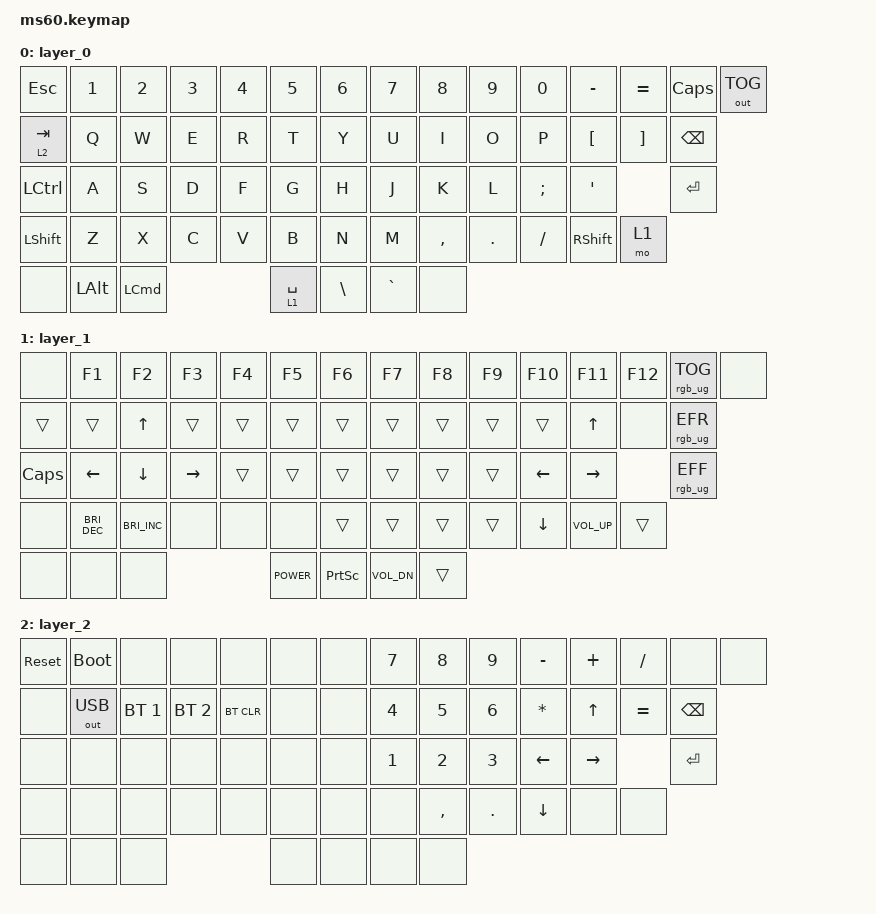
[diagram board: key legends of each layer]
/*
 * Copyright (c) 2021 Nick Winans
 *
 * SPDX-License-Identifier: MIT
 */

#include <behaviors.dtsi>
#include <dt-bindings/zmk/bt.h>
#include <dt-bindings/zmk/keys.h>
#include <dt-bindings/zmk/outputs.h>
#include <dt-bindings/zmk/rgb.h>

/ {
    combos {
        compatible = "zmk,combos";

        bs_jk {
            bindings = <&kp BACKSPACE>;
            key-positions = <36 37>;
            layers = <0>;
            timeout-ms = <50>;
        };

        ent_kl {
            bindings = <&kp ENTER>;
            key-positions = <37 38>;
            layers = <0>;
            timeout-ms = <50>;
        };

        line_del {
            bindings = <&mt LEFT_COMMAND BACKSPACE>;
            key-positions = <24 23>;
            timeout-ms = <50>;
            layers = <0>;
        };
    };

    keymap {
        compatible = "zmk,keymap";

        layer_0 {
            // -------------------------------------------------------------------------------------------
            // | ESC |  1  |  2  |  3  |  4  |  5  |  6  |  7  |  8  |  9  |  0  |  -  |  =  | BKSP |BKSP|
            // | TAB  |  Q  |  W  |  E  |  R  |  T  |  Y  |  U  |  I  |  O  |  P  |  [  |  ]  |   "|"    |
            // | CAPS  |  A  |  S  |  D  |  F  |  G  |  H  |  J  |  K  |  L  |  ;  |  '  |     ENTER     |
            // |  SHIFT  |  Z  |  X  |  C  |  V  |  B  |  N  |  M  |  ,  |  .  |   SHFT   |  UP  |   /   |
            // |  CTL  |  WIN  |  ALT  |           SPACE             | FN(1) | WIN | LEFT | DOWN | RIGHT |
            // -------------------------------------------------------------------------------------------

            bindings = <
&kp ESC           &kp N1        &kp N2            &kp N3  &kp N4  &kp N5       &kp N6         &kp N7     &kp N8     &kp N9   &kp N0     &kp MINUS  &kp EQUAL  &kp CAPSLOCK  &out OUT_TOG
&lt 2 TAB         &kp Q         &kp W             &kp E   &kp R   &kp T        &kp Y          &kp U      &kp I      &kp O    &kp P      &kp LBKT   &kp RBKT   &kp BSPC
&kp LEFT_CONTROL  &kp A         &kp S             &kp D   &kp F   &kp G        &kp H          &kp J      &kp K      &kp L    &kp SEMI   &kp SQT               &kp RET
&kp LSHFT         &kp Z         &kp X             &kp C   &kp V   &kp B        &kp N          &kp M      &kp COMMA  &kp DOT  &kp SLASH  &kp RSHFT  &mo 1
&none             &kp LEFT_ALT  &kp LEFT_COMMAND                  &lt 1 SPACE  &kp BACKSLASH  &kp GRAVE  &none
            >;
        };

        layer_1 {
            // ------------------------------------------------------------------------------------------------
            // | BT CLR | F1  | F2  | F3  | F4  | F5  | F6  | F7  | F8  | F9  | F10 | F11 | F12 | BOOT | BOOT |
            // |  BT 1   |   |  UP |   | HUEUP | SATUP | BRIUP | SPDUP |   |     |    |     |     |  RGB_efect|
            // |   BT 2   | LT |  DN  | RT | HUEDN | SATDN | BRIDN | SPDDN |   |     |   |     |  EFFECT FORW |
            // |    BT 3     |     |      |      |     |     |     |     |     |     |     |                  |
            // |   BT 4  |      |      |             TOG RGB                | PRT SCR |    |    |     |  DEL  |
            // ------------------------------------------------------------------------------------------------

            bindings = <
&none         &kp F1                &kp F2                &kp F3     &kp F4  &kp F5       &kp F6     &kp F7        &kp F8  &kp F9  &kp F10   &kp F11       &kp F12  &rgb_ug RGB_TOG  &none
&trans        &trans                &kp UP                &trans     &trans  &trans       &trans     &trans        &trans  &trans  &trans    &kp UP        &none    &rgb_ug RGB_EFR
&kp CAPSLOCK  &kp LEFT              &kp DOWN              &kp RIGHT  &trans  &trans       &trans     &trans        &trans  &trans  &kp LEFT  &kp RIGHT              &rgb_ug RGB_EFF
&none         &kp C_BRIGHTNESS_DEC  &kp C_BRIGHTNESS_INC  &none      &none   &none        &trans     &trans        &trans  &trans  &kp DOWN  &kp C_VOL_UP  &trans
&none         &none                 &none                                    &kp C_POWER  &kp PSCRN  &kp C_VOL_DN  &trans
            >;
        };

        layer_2 {
            bindings = <
&sys_reset  &bootloader   &none         &none         &none       &none  &none  &kp NUMBER_7  &kp NUMBER_8  &kp N9        &kp MINUS  &kp PLUS   &kp SLASH  &none      &none
&none       &out OUT_USB  &bt BT_SEL 1  &bt BT_SEL 2  &bt BT_CLR  &none  &none  &kp NUMBER_4  &kp NUMBER_5  &kp NUMBER_6  &kp ASTRK  &kp UP     &kp EQUAL  &kp BSPC
&none       &none         &none         &none         &none       &none  &none  &kp NUMBER_1  &kp NUMBER_2  &kp N3        &kp LEFT   &kp RIGHT             &kp ENTER
&none       &none         &none         &none         &none       &none  &none  &none         &kp COMMA     &kp DOT       &kp DOWN   &none      &none
&none       &none         &none                                   &none  &none  &none         &none
            >;
        };
    };
};
